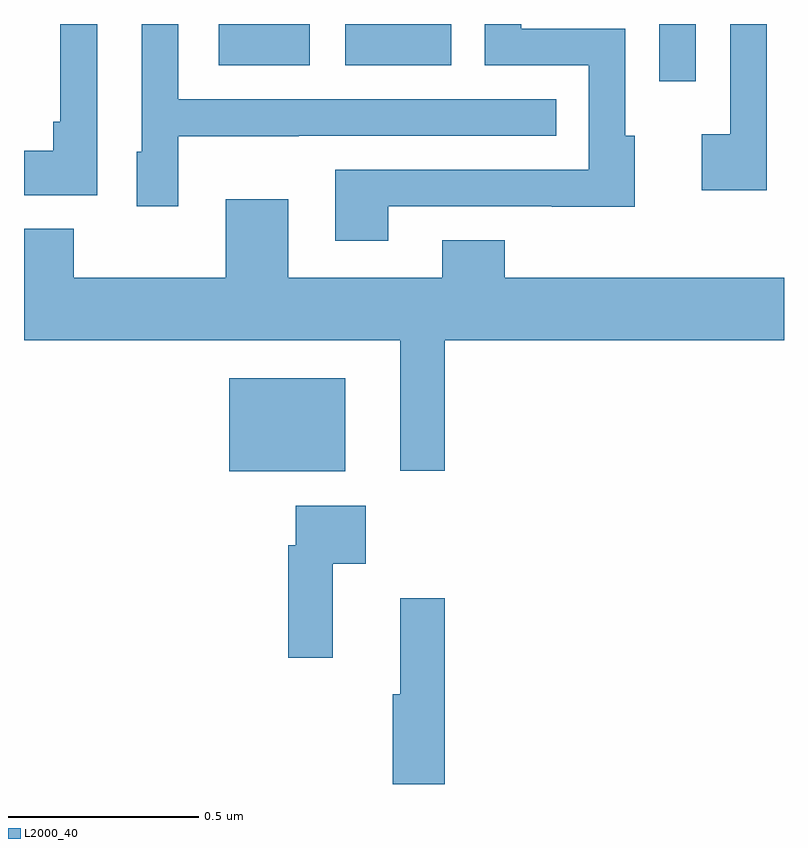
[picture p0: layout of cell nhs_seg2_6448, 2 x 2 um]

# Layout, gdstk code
import gdstk
lib = gdstk.Library(unit=1e-6, precision=1e-09)
def R(c, l, rs):  # rectangles x0, y0, x1, y1
    for r in rs: c.add(gdstk.rectangle(r[:2], r[2:], *l))
def P(c, l, *ps):  # polygons
    for p in ps: c.add(gdstk.Polygon(p, *l))
L2000_40 = (2000, 40)

nhs_seg2_6448 = lib.new_cell('nhs_seg2_6448')
R(nhs_seg2_6448, L2000_40, [(191.54,648.623,191.845,648.868), (192.672,649.65,192.768,649.8), (191.513,649.691,191.752,649.8), (191.846,649.691,192.124,649.8)])
P(nhs_seg2_6448, L2000_40, [(191.193,649.8),(191.096,649.8),(191.096,649.543),(191.077,649.543),(191.077,649.466),(191,649.466),(191,649.35),(191.193,649.35)],
  [(191.959,649.32),(192.389,649.32),(192.389,649.319),(192.607,649.319),(192.607,649.506),(192.582,649.506),(192.582,649.788),(192.309,649.788),(192.309,649.8),(192.213,649.8),(192.213,649.692),(192.486,649.692),(192.486,649.416),(191.819,649.416),(191.819,649.23),(191.959,649.23)],
  [(191.406,649.505),(191.723,649.505),(191.723,649.506),(192.401,649.506),(192.401,649.602),(191.406,649.602),(191.406,649.8),(191.31,649.8),(191.31,649.464),(191.297,649.464),(191.297,649.32),(191.406,649.32)],
  [(192.955,649.8),(192.858,649.8),(192.858,649.51),(192.783,649.51),(192.783,649.362),(192.955,649.362)],
  [(192.107,648.968),(193,648.968),(193,649.132),(192.265,649.132),(192.265,649.231),(192.101,649.231),(192.101,649.132),(191.695,649.132),(191.695,649.339),(191.531,649.339),(191.531,649.132),(191.131,649.132),(191.131,649.261),(191,649.261),(191,648.968),(191.99,648.968),(191.99,648.624),(192.107,648.624)],
  [(191.813,648.38),(191.899,648.38),(191.899,648.532),(191.715,648.532),(191.715,648.428),(191.695,648.428),(191.695,648.132),(191.813,648.132)],
  [(192.107,648.289),(191.99,648.289),(191.99,648.036),(191.971,648.036),(191.971,647.8),(192.107,647.8)])

lib.write_gds('nhs_seg2_6448.gds')
